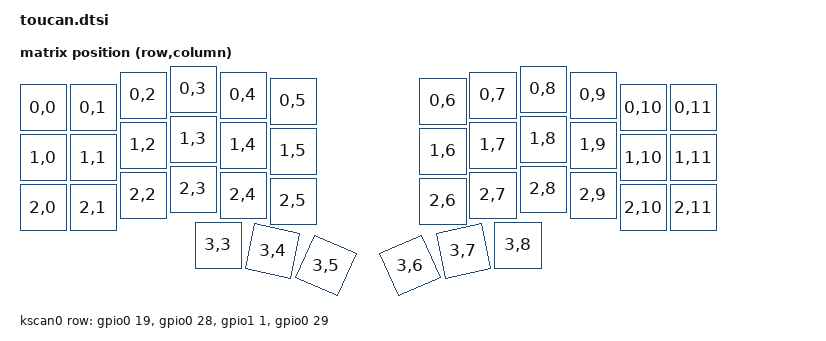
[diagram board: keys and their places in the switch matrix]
#include <input/processors.dtsi>
#include <dt-bindings/input/input-event-codes.h>
#include <dt-bindings/zmk/input_transform.h>
#include <dt-bindings/zmk/keys.h>
#include <dt-bindings/zmk/matrix_transform.h>
#include <physical_layouts.dtsi>

//#define TOUCAN_WIN_MODE


/ {
    chosen {
        zmk,kscan = &kscan0;
        zmk,physical-layout = &default_layout;
        //zmk,physical-layout = &physical_layout0;
    };

    kscan0: kscan_0 {
        compatible = "zmk,kscan-gpio-matrix";
        diode-direction = "col2row";
        wakeup-source;

    row-gpios
    = <&gpio0 19 (GPIO_ACTIVE_HIGH | GPIO_PULL_DOWN)>
    , <&gpio0 28 (GPIO_ACTIVE_HIGH | GPIO_PULL_DOWN)>
    , <&gpio1 1 (GPIO_ACTIVE_HIGH | GPIO_PULL_DOWN)>
    , <&gpio0 29 (GPIO_ACTIVE_HIGH | GPIO_PULL_DOWN)>
    ;
    };

    default_layout: default_layout {
        compatible = "zmk,physical-layout";
        display-name = "Default Layout";
        transform = <&default_transform>;

        keys  //                     w   h    x    y     rot    rx    ry
            = <&key_physical_attrs 100 100    0   37       0     0     0>
            , <&key_physical_attrs 100 100  100   37       0     0     0>
            , <&key_physical_attrs 100 100  200   12       0     0     0>
            , <&key_physical_attrs 100 100  300    0       0     0     0>
            , <&key_physical_attrs 100 100  400   12       0     0     0>
            , <&key_physical_attrs 100 100  500   24       0     0     0>
            , <&key_physical_attrs 100 100  800   24       0     0     0>
            , <&key_physical_attrs 100 100  900   12       0     0     0>
            , <&key_physical_attrs 100 100 1000    0       0     0     0>
            , <&key_physical_attrs 100 100 1100   12       0     0     0>
            , <&key_physical_attrs 100 100 1200   37       0     0     0>
            , <&key_physical_attrs 100 100 1300   37       0     0     0>
            , <&key_physical_attrs 100 100    0  137       0     0     0>
            , <&key_physical_attrs 100 100  100  137       0     0     0>
            , <&key_physical_attrs 100 100  200  112       0     0     0>
            , <&key_physical_attrs 100 100  300  100       0     0     0>
            , <&key_physical_attrs 100 100  400  112       0     0     0>
            , <&key_physical_attrs 100 100  500  124       0     0     0>
            , <&key_physical_attrs 100 100  800  124       0     0     0>
            , <&key_physical_attrs 100 100  900  112       0     0     0>
            , <&key_physical_attrs 100 100 1000  100       0     0     0>
            , <&key_physical_attrs 100 100 1100  112       0     0     0>
            , <&key_physical_attrs 100 100 1200  137       0     0     0>
            , <&key_physical_attrs 100 100 1300  137       0     0     0>
            , <&key_physical_attrs 100 100    0  237       0     0     0>
            , <&key_physical_attrs 100 100  100  237       0     0     0>
            , <&key_physical_attrs 100 100  200  212       0     0     0>
            , <&key_physical_attrs 100 100  300  200       0     0     0>
            , <&key_physical_attrs 100 100  400  212       0     0     0>
            , <&key_physical_attrs 100 100  500  224       0     0     0>
            , <&key_physical_attrs 100 100  800  224       0     0     0>
            , <&key_physical_attrs 100 100  900  212       0     0     0>
            , <&key_physical_attrs 100 100 1000  200       0     0     0>
            , <&key_physical_attrs 100 100 1100  212       0     0     0>
            , <&key_physical_attrs 100 100 1200  237       0     0     0>
            , <&key_physical_attrs 100 100 1300  237       0     0     0>
            , <&key_physical_attrs 100 100  350  312       0     0     0>
            , <&key_physical_attrs 100 100  450  312    1200   450   412>
            , <&key_physical_attrs 100 100  548  328    2400   548   433>
            , <&key_physical_attrs 100 100  752  328  (-2400)  852   433>
            , <&key_physical_attrs 100 100  850  312  (-1200)  950   412>
            , <&key_physical_attrs 100 100  950  312       0     0     0>
            ;
    };

    default_transform: keymap_transform_0 {
        compatible = "zmk,matrix-transform";
        columns = <12>;
        rows = <4>;
        // | SW1  | SW2  | SW3  | SW4  | SW5  | SW6  |   | SW6  | SW5  | SW4  | SW3  | SW2  | SW1  |
        // | SW7  | SW8  | SW9  | SW10 | SW11 | SW12 |   | SW12 | SW11 | SW10 | SW9  | SW8  | SW7  |
        // | SW13 | SW14 | SW15 | SW16 | SW17 | SW18 |   | SW18 | SW17 | SW16 | SW15 | SW14 | SW13 |
        //                      | SW19 | SW20 | SW21 |   | SW21 | SW20 | SW19 |
                map = <
        RC(0,0) RC(0,1) RC(0,2) RC(0,3) RC(0,4) RC(0,5)  RC(0,6) RC(0,7) RC(0,8) RC(0,9) RC(0,10) RC(0,11)
        RC(1,0) RC(1,1) RC(1,2) RC(1,3) RC(1,4) RC(1,5)  RC(1,6) RC(1,7) RC(1,8) RC(1,9) RC(1,10) RC(1,11)
        RC(2,0) RC(2,1) RC(2,2) RC(2,3) RC(2,4) RC(2,5)  RC(2,6) RC(2,7) RC(2,8) RC(2,9) RC(2,10) RC(2,11)
                                RC(3,3) RC(3,4) RC(3,5)  RC(3,6) RC(3,7) RC(3,8)
        >;
    };
};

/ {
    input_processors {
        zip_zoom_mapper: zip_zoom_mapper {
            compatible = "zmk,input-processor-zoom";
            #input-processor-cells = <0>;
            event-code = <INPUT_REL_MISC>;
            sensitivity = <10>;
#ifdef TOUCAN_WIN_MODE
            bindings = <&kp LC(MINUS)>, <&kp LC(EQUAL)>;
#else
            bindings = <&kp LG(MINUS)>, <&kp LG(EQUAL)>;
#endif
            track-remainders;
        };

        is_touching_processor:is_touching_processor {
            compatible = "zmk,input-processor-behaviors";
            #input-processor-cells = <0>;

            codes = <INPUT_BTN_TOUCH>;      // watch for the 'touch' pseudo button
            bindings  = <&mo 4>;            // Activate Layer 4 (mouse buttons) while touching
        };

        swipe_button_mapper: swipe_button_mapper {
            compatible = "zmk,input-processor-behaviors";
            #input-processor-cells = <0>;
            codes = <INPUT_BTN_NORTH INPUT_BTN_EAST INPUT_BTN_SOUTH INPUT_BTN_WEST>;
#ifdef TOUCAN_WIN_MODE
            bindings = <&kp LG(TAB)>, <&kp LG(RIGHT)>, <&kp LG(D)>, <&kp LG(LEFT)>;
#else
            bindings = <&kp LC(LG(UP))>, <&kp LC(LG(RIGHT))>, <&kp LC(LG(DOWN))>, <&kp LC(LG(LEFT))>;
#endif
        };
    };


    split_inputs {
        #address-cells = <1>;
        #size-cells = <0>;

        trackpad_split: trackpad_split@0 {
            compatible = "zmk,input-split";
            reg = <0>;
        };
    };

    trackpad_listener: trackpad_listener {
        compatible = "zmk,input-listener";
        status = "disabled";
        device = <&trackpad_split>;
        input-processors = <&zip_xy_scaler 100 100>, <&zip_scroll_scaler 1 20>, <&zip_zoom_mapper>, <&is_touching_processor>, <&swipe_button_mapper>;
        scroller {
            layers = <1 2>;
            input-processors = <
                &zip_xy_to_scroll_mapper
                &zip_scroll_scaler 1 20
                &zip_scroll_transform INPUT_TRANSFORM_X_INVERT
            >;
        };
    };
};
